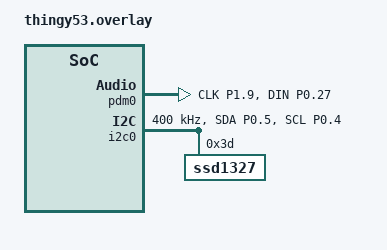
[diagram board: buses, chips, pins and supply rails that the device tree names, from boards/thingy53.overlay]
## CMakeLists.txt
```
# SPDX-License-Identifier: Apache-2.0

cmake_minimum_required(VERSION 3.20.0)

set(CMAKE_CXX_STANDARD 11)
set(CMAKE_CXX_STANDARD_REQUIRED ON)

set(EXTRA_DTC_OVERLAY_FILE ${CMAKE_CURRENT_SOURCE_DIR}/boards/thingy53.overlay)

find_package(Zephyr REQUIRED HINTS $ENV{ZEPHYR_BASE})
project(tic-tac-toe-voice-recognition-thingy53)

include(utils/cmake/utils.cmake)

# Needed for colorful output
zephyr_compile_options(-fdiagnostics-color=always)

# Use hardware acceleration for DSP and Neural Network code
# You'll need to disable these on non-Arm cores
add_definitions(-DEI_CLASSIFIER_TFLITE_ENABLE_CMSIS_NN=1
                -DARM_MATH_LOOPUNROLL
                )

# Add the Edge Impulse SDK
add_subdirectory(edge-impulse-sdk/cmake/zephyr)

target_include_directories(app PRIVATE .)
target_include_directories(app PRIVATE ${CMAKE_CURRENT_SOURCE_DIR}/model-parameters)
target_include_directories(app PRIVATE ${CMAKE_CURRENT_SOURCE_DIR}/tflite-model)
target_include_directories(app PRIVATE ${CMAKE_CURRENT_SOURCE_DIR}/src/include)

target_sources(app PRIVATE ${CMAKE_CURRENT_SOURCE_DIR}/src/source/ssd1327_oled.cpp)
target_sources(app PRIVATE ${CMAKE_CURRENT_SOURCE_DIR}/src/source/table_image.cpp)
target_sources(app PRIVATE ${CMAKE_CURRENT_SOURCE_DIR}/src/source/cross_image.cpp)
target_sources(app PRIVATE ${CMAKE_CURRENT_SOURCE_DIR}/src/source/circle_image.cpp)
target_sources(app PRIVATE ${CMAKE_CURRENT_SOURCE_DIR}/src/source/black_square_image.cpp)
target_sources(app PRIVATE ${CMAKE_CURRENT_SOURCE_DIR}/src/source/cpu_win_text_image.cpp)
target_sources(app PRIVATE ${CMAKE_CURRENT_SOURCE_DIR}/src/source/you_win_text_image.cpp)
target_sources(app PRIVATE ${CMAKE_CURRENT_SOURCE_DIR}/tflite-model/tflite_learn_3_compiled.cpp)
target_sources(app PRIVATE ${CMAKE_CURRENT_SOURCE_DIR}/src/source/dmic_voice_recognition.cpp)
target_sources(app PRIVATE ${CMAKE_CURRENT_SOURCE_DIR}/src/source/main.cpp)
```

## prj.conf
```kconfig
# I2C configuration
CONFIG_I2C=y

# enable c++ support
CONFIG_CPP=y
CONFIG_GLIBCXX_LIBCPP=y
CONFIG_NEWLIB_LIBC=y
CONFIG_NEWLIB_LIBC_FLOAT_PRINTF=y
CONFIG_FPU=y

# For drawing graphics
CONFIG_CHARACTER_FRAMEBUFFER=y
CONFIG_DISPLAY_INIT_PRIORITY=75
CONFIG_PM_DEVICE=y

# For interfacing microphone
CONFIG_AUDIO=y
CONFIG_AUDIO_DMIC=y

# Logging and debugging
CONFIG_LOG=y
# Enable RTT logging backend
CONFIG_USE_SEGGER_RTT=y
CONFIG_CBPRINTF_FP_SUPPORT=y
CONFIG_LOG_PRINTK=y
CONFIG_LOG_BACKEND_RTT=y
CONFIG_LOG_SPEED=y
CONFIG_LOG_MODE_DEFERRED=y
CONFIG_LOG_BUFFER_SIZE=8192
CONFIG_LOG_BACKEND_RTT_BUFFER_SIZE=8192
CONFIG_LOG_BACKEND_RTT_MESSAGE_SIZE=256
CONFIG_LOG_BACKEND_RTT_MODE_DROP=y
CONFIG_SEGGER_RTT_MODE_NO_BLOCK_SKIP=y
CONFIG_LOG_PROCESS_THREAD_STACK_SIZE=4096

# Optional: Disable UART logging if you want only RTT
CONFIG_LOG_BACKEND_UART=n

# For demonstration app
CONFIG_HEAP_MEM_POOL_SIZE=16384
CONFIG_MAIN_STACK_SIZE=20480
CONFIG_GPIO=y
```

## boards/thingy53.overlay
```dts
/ {
	pinctrl: pin-controller {
		i2c0_default: i2c0_default {
			group1 {
				psels = <NRF_PSEL(TWIM_SDA, 0, 5)>,
					<NRF_PSEL(TWIM_SCL, 0, 4)>;
			};
		};

		i2c0_sleep: i2c0_sleep {
			group1 {
				psels = <NRF_PSEL(TWIM_SDA, 0, 5)>,
					<NRF_PSEL(TWIM_SCL, 0, 4)>;
				low-power-enable;
			};
		};
	};
};

&clock {
	hfclkaudio-frequency = <12288000>;
};

&pinctrl {
	pdm0_default_alt: pdm0_default_alt {
		group1 {
			psels = <NRF_PSEL(PDM_CLK, 1, 9)>,
				<NRF_PSEL(PDM_DIN, 0, 27)>;
		};
	};
};

dmic_dev: &pdm0 {
	status = "okay";
	pinctrl-0 = <&pdm0_default_alt>;
	pinctrl-names = "default";
	clock-source = "ACLK";
};

&i2c0 {
    compatible = "nordic,nrf-twim";
    status = "okay";
    clock-frequency = <I2C_BITRATE_FAST>;

    pinctrl-0 = <&i2c0_default>;
    pinctrl-1 = <&i2c0_sleep>;
    pinctrl-names = "default", "sleep";
    ssd1327: ssd1327@3d {
        compatible = "ssd1327";
        reg = <0x3d>;
    };
};
```

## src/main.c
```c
/**
* SSD1327 OLED Display Driver for Nordic Thingy:53
* 
* This example demonstrates how to initialize and drive an SSD1327 OLED display
* with the Thingy:53 board using Zephyr RTOS.
*/

#include <zephyr/kernel.h>
#include <zephyr/device.h>
#include <zephyr/drivers/i2c.h>
#include <zephyr/drivers/display.h>
#include <zephyr/logging/log.h>

LOG_MODULE_REGISTER(ssd1327_demo, LOG_LEVEL_INF);

/* SSD1327 I2C address */
#define SSD1327_I2C_ADDR 0x3D

/* Display dimensions */
#define DISPLAY_WIDTH 128
#define DISPLAY_HEIGHT 128

/* SSD1327 Commands */
#define SSD1327_CMD_SET_COLUMN_ADDRESS 0x15
#define SSD1327_CMD_SET_ROW_ADDRESS 0x75
#define SSD1327_CMD_SET_CONTRAST 0x81
#define SSD1327_CMD_SET_REMAP 0xA0
#define SSD1327_CMD_SET_DISPLAY_START_LINE 0xA1
#define SSD1327_CMD_SET_DISPLAY_OFFSET 0xA2
#define SSD1327_CMD_SET_DISPLAY_MODE_NORMAL 0xA4
#define SSD1327_CMD_SET_DISPLAY_MODE_ALL_ON 0xA5
#define SSD1327_CMD_SET_DISPLAY_MODE_ALL_OFF 0xA6
#define SSD1327_CMD_SET_DISPLAY_MODE_INVERSE 0xA7
#define SSD1327_CMD_SET_MULTIPLEX_RATIO 0xA8
#define SSD1327_CMD_FUNCTION_SELECTION_A 0xAB
#define SSD1327_CMD_SET_DISPLAY_ON 0xAF
#define SSD1327_CMD_SET_DISPLAY_OFF 0xAE
#define SSD1327_CMD_SET_PHASE_LENGTH 0xB1
#define SSD1327_CMD_SET_CLOCK_DIVIDER 0xB3
#define SSD1327_CMD_SET_SECOND_PRECHARGE 0xB6
#define SSD1327_CMD_SET_PRECHARGE_VOLTAGE 0xBC
#define SSD1327_CMD_SET_VCOMH 0xBE
#define SSD1327_CMD_FUNCTION_SELECTION_B 0xD5
#define SSD1327_CMD_SET_COMMAND_LOCK 0xFD

/* Control byte definitions */
#define SSD1327_CONTROL_BYTE_CMD 0x00
#define SSD1327_CONTROL_BYTE_DATA 0x40

/* Buffer for display data */
static uint8_t display_buffer[DISPLAY_HEIGHT * DISPLAY_WIDTH / 2];

/**
* @brief Write command to SSD1327
* 
* @param dev I2C device
* @param cmd Command byte
* @return int 0 on success, negative errno on failure
*/
static int ssd1327_write_cmd(const struct device *dev, uint8_t cmd)
{
    uint8_t buf[2] = {SSD1327_CONTROL_BYTE_CMD, cmd};
    return i2c_write(dev, buf, sizeof(buf), SSD1327_I2C_ADDR);
}

/**
* @brief Write data to SSD1327
* 
* @param dev I2C device
* @param data Data buffer
* @param len Data length
* @return int 0 on success, negative errno on failure
*/
static int ssd1327_write_data(const struct device *dev, const uint8_t *data, size_t len)
{
    uint8_t *buf = k_malloc(len + 1);
    int ret;
    
    if (!buf) {
        return -ENOMEM;
    }
    
    buf[0] = SSD1327_CONTROL_BYTE_DATA;
    memcpy(&buf[1], data, len);
    
    ret = i2c_write(dev, buf, len + 1, SSD1327_I2C_ADDR);
    k_free(buf);
    
    return ret;
}

/**
* @brief Initialize SSD1327 display
* 
* @param i2c_dev I2C device
* @return int 0 on success, negative errno on failure
*/
static int ssd1327_init(const struct device *i2c_dev)
{
    int ret;
    
    /* Display off */
    ret = ssd1327_write_cmd(i2c_dev, SSD1327_CMD_SET_DISPLAY_OFF);
    if (ret < 0) {
        LOG_ERR("Failed to turn display off");
        return ret;
    }
    
    /* Set clock divider */
    ret = ssd1327_write_cmd(i2c_dev, SSD1327_CMD_SET_CLOCK_DIVIDER);
    ret |= ssd1327_write_cmd(i2c_dev, 0x51); /* Default value */
    if (ret < 0) {
        return ret;
    }
    
    /* Set multiplex ratio */
    ret = ssd1327_write_cmd(i2c_dev, SSD1327_CMD_SET_MULTIPLEX_RATIO);
    ret |= ssd1327_write_cmd(i2c_dev, 0x7F); /* 1/128 duty */
    if (ret < 0) {
        return ret;
    }
    
    /* Set display offset */
    ret = ssd1327_write_cmd(i2c_dev, SSD1327_CMD_SET_DISPLAY_OFFSET);
    ret |= ssd1327_write_cmd(i2c_dev, 0x00);
    if (ret < 0) {
        return ret;
    }
    
    /* Set start line */
    ret = ssd1327_write_cmd(i2c_dev, SSD1327_CMD_SET_DISPLAY_START_LINE);
    ret |= ssd1327_write_cmd(i2c_dev, 0x00);
    if (ret < 0) {
        return ret;
    }
    
    /* Set remap configuration */
    ret = ssd1327_write_cmd(i2c_dev, SSD1327_CMD_SET_REMAP);
    ret |= ssd1327_write_cmd(i2c_dev, 0x51); /* Enable column address remapping, COM remapping */
    if (ret < 0) {
        return ret;
    }
    
    /* Set phase length */
    ret = ssd1327_write_cmd(i2c_dev, SSD1327_CMD_SET_PHASE_LENGTH);
    ret |= ssd1327_write_cmd(i2c_dev, 0x55); /* Phase 1: 5 DCLKs, Phase 2: 5 DCLKs */
    if (ret < 0) {
        return ret;
    }
    
    /* Set contrast */
    ret = ssd1327_write_cmd(i2c_dev, SSD1327_CMD_SET_CONTRAST);
    ret |= ssd1327_write_cmd(i2c_dev, 0x7F); /* Default */
    if (ret < 0) {
        return ret;
    }
    
    /* Normal display mode */
    ret = ssd1327_write_cmd(i2c_dev, SSD1327_CMD_SET_DISPLAY_MODE_NORMAL);
    if (ret < 0) {
        return ret;
    }
    
    /* Turn display on */
    ret = ssd1327_write_cmd(i2c_dev, SSD1327_CMD_SET_DISPLAY_ON);
    if (ret < 0) {
        LOG_ERR("Failed to turn display on");
        return ret;
    }
    
    LOG_INF("SSD1327 display initialized");
    return 0;
}

/**
* @brief Set cursor position
* 
* @param i2c_dev I2C device
* @param column Column address
* @param row Row address
* @return int 0 on success, negative errno on failure
*/
static int ssd1327_set_cursor(const struct device *i2c_dev, uint8_t column, uint8_t row)
{
    int ret;
    
    /* Set column address */
    ret = ssd1327_write_cmd(i2c_dev, SSD1327_CMD_SET_COLUMN_ADDRESS);
    ret |= ssd1327_write_cmd(i2c_dev, column);
    ret |= ssd1327_write_cmd(i2c_dev, DISPLAY_WIDTH / 2 - 1);
    if (ret < 0) {
        return ret;
    }
    
    /* Set row address */
    ret = ssd1327_write_cmd(i2c_dev, SSD1327_CMD_SET_ROW_ADDRESS);
    ret |= ssd1327_write_cmd(i2c_dev, row);
    ret |= ssd1327_write_cmd(i2c_dev, DISPLAY_HEIGHT - 1);
    
    return ret;
}

/**
* @brief Clear the display
* 
* @param i2c_dev I2C device
* @return int 0 on success, negative errno on failure
*/
static int ssd1327_clear(const struct device *i2c_dev)
{
    int ret;
    
    /* Set cursor to (0,0) */
    ret = ssd1327_set_cursor(i2c_dev, 0, 0);
    if (ret < 0) {
        return ret;
    }
    
    /* Fill with zeros */
    memset(display_buffer, 0, sizeof(display_buffer));
    ret = ssd1327_write_data(i2c_dev, display_buffer, sizeof(display_buffer));
    
    return ret;
}

/**
* @brief Draw a test pattern on the display
* 
* @param i2c_dev I2C device
* @return int 0 on success, negative errno on failure
*/
static int ssd1327_draw_test_pattern(const struct device *i2c_dev)
{
    int ret;
    
    /* Set cursor to (0,0) */
    ret = ssd1327_set_cursor(i2c_dev, 0, 0);
    if (ret < 0) {
        return ret;
    }
    
    /* Create grayscale gradient pattern */
    for (int i = 0; i < DISPLAY_HEIGHT; i++) {
        for (int j = 0; j < DISPLAY_WIDTH / 2; j++) {
            uint8_t gray_value = ((i * 16) / DISPLAY_HEIGHT) & 0x0F;
            display_buffer[i * (DISPLAY_WIDTH / 2) + j] = (gray_value << 4) | gray_value;
        }
    }
    
    /* Write pattern to display */
    ret = ssd1327_write_data(i2c_dev, display_buffer, sizeof(display_buffer));
    
    return ret;
}

void i2c_scan(const struct device *dev)
{
uint8_t error, addr;
    LOG_INF("I2C Scanning...");

    for (addr = 0; addr <= 0x7F; addr++) {
        error = i2c_write(dev, NULL, 0, addr);
        if (error == 0) {
            LOG_INF("I2C device found at address 0x%02X", addr);
        }
    }

    LOG_INF("I2C scan complete");
}

int main(void)
{
    const struct device *i2c_dev;
    
    /* Get I2C device - on Thingy:53, the I2C is on the 'I2C_1' bus */
    i2c_dev = DEVICE_DT_GET(DT_NODELABEL(i2c0));
    // i2c_dev = device_get_binding(DT_NODELABEL(ssd1327));
    
    if (!device_is_ready(i2c_dev)) {
        LOG_ERR("I2C device not ready");
        return -1;
    }
    
    LOG_INF("Initializing SSD1327 display on I2C bus: %s", i2c_dev->name);

    // i2c_scan(i2c_dev);
    
#if 1
    /* Initialize display */
    int ret = ssd1327_init(i2c_dev);
    if (ret < 0) {
        LOG_ERR("Failed to initialize display: %d", ret);
        return -1;
    }
    
    /* Clear the display */
    ret = ssd1327_clear(i2c_dev);
    if (ret < 0) {
        LOG_ERR("Failed to clear display: %d", ret);
        return -1;
    }
    
    k_sleep(K_MSEC(1000));
    
    /* Draw test pattern */
    LOG_INF("Drawing test pattern");
    ret = ssd1327_draw_test_pattern(i2c_dev);
    if (ret < 0) {
        LOG_ERR("Failed to draw test pattern: %d", ret);
        return -1;
    }
    
    LOG_INF("Test pattern drawn successfully");
#endif
    /* Main loop */
    while (1) {
        k_sleep(K_SECONDS(1));
    }

    return 0;
}
```
